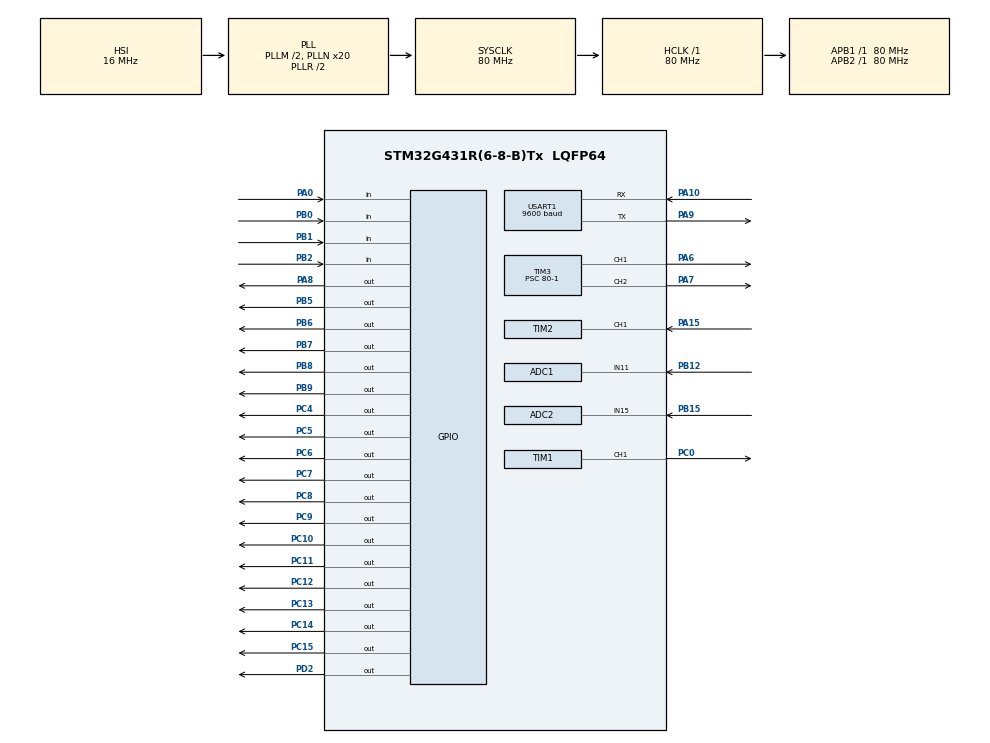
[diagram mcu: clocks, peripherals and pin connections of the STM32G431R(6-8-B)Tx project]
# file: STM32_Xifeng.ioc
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ADC1.Channel-2\#ChannelRegularConversion=ADC_CHANNEL_11
ADC1.ClockPrescaler=ADC_CLOCK_SYNC_PCLK_DIV4
ADC1.ContinuousConvMode=ENABLE
ADC1.DMAContinuousRequests=ENABLE
ADC1.NbrOfConversionFlag=1
ADC1.OffsetNumber-2\#ChannelRegularConversion=ADC_OFFSET_NONE
ADC1.Rank-2\#ChannelRegularConversion=1
ADC1.SamplingTime-2\#ChannelRegularConversion=ADC_SAMPLETIME_2CYCLES_5
ADC1.master=1
ADC2.Channel-2\#ChannelRegularConversion=ADC_CHANNEL_15
ADC2.ClockPrescaler=ADC_CLOCK_SYNC_PCLK_DIV4
ADC2.ContinuousConvMode=ENABLE
ADC2.DMAContinuousRequests=ENABLE
ADC2.NbrOfConversionFlag=1
ADC2.OffsetNumber-2\#ChannelRegularConversion=ADC_OFFSET_NONE
ADC2.Rank-2\#ChannelRegularConversion=1
ADC2.SamplingTime-2\#ChannelRegularConversion=ADC_SAMPLETIME_2CYCLES_5
Dma.ADC1.1.Direction=DMA_PERIPH_TO_MEMORY
Dma.ADC1.1.EventEnable=DISABLE
Dma.ADC1.1.Instance=DMA1_Channel2
Dma.ADC1.1.MemDataAlignment=DMA_MDATAALIGN_WORD
Dma.ADC1.1.MemInc=DMA_MINC_ENABLE
Dma.ADC1.1.Mode=DMA_CIRCULAR
Dma.ADC1.1.PeriphDataAlignment=DMA_PDATAALIGN_WORD
Dma.ADC1.1.PeriphInc=DMA_PINC_DISABLE
Dma.ADC1.1.Polarity=HAL_DMAMUX_REQ_GEN_RISING
Dma.ADC1.1.Priority=DMA_PRIORITY_MEDIUM
Dma.ADC1.1.RequestNumber=1
Dma.ADC1.1.SignalID=NONE
Dma.ADC1.1.SyncEnable=DISABLE
Dma.ADC1.1.SyncPolarity=HAL_DMAMUX_SYNC_NO_EVENT
Dma.ADC1.1.SyncRequestNumber=1
Dma.ADC1.1.SyncSignalID=NONE
Dma.ADC2.2.Direction=DMA_PERIPH_TO_MEMORY
Dma.ADC2.2.EventEnable=DISABLE
Dma.ADC2.2.Instance=DMA1_Channel3
Dma.ADC2.2.MemDataAlignment=DMA_MDATAALIGN_WORD
Dma.ADC2.2.MemInc=DMA_MINC_ENABLE
Dma.ADC2.2.Mode=DMA_CIRCULAR
Dma.ADC2.2.PeriphDataAlignment=DMA_PDATAALIGN_WORD
Dma.ADC2.2.PeriphInc=DMA_PINC_DISABLE
Dma.ADC2.2.Polarity=HAL_DMAMUX_REQ_GEN_RISING
Dma.ADC2.2.Priority=DMA_PRIORITY_MEDIUM
Dma.ADC2.2.RequestNumber=1
Dma.ADC2.2.SignalID=NONE
Dma.ADC2.2.SyncEnable=DISABLE
Dma.ADC2.2.SyncPolarity=HAL_DMAMUX_SYNC_NO_EVENT
Dma.ADC2.2.SyncRequestNumber=1
Dma.ADC2.2.SyncSignalID=NONE
Dma.Request0=USART1_RX
Dma.Request1=ADC1
Dma.Request2=ADC2
Dma.Request3=TIM3_CH1
Dma.Request4=TIM3_CH2
Dma.Request5=TIM2_CH1
Dma.TIM2_CH1.5.Direction=DMA_PERIPH_TO_MEMORY
Dma.TIM2_CH1.5.EventEnable=DISABLE
Dma.TIM2_CH1.5.Instance=DMA1_Channel6
Dma.TIM2_CH1.5.MemDataAlignment=DMA_MDATAALIGN_WORD
Dma.TIM2_CH1.5.MemInc=DMA_MINC_ENABLE
Dma.TIM2_CH1.5.Mode=DMA_CIRCULAR
Dma.TIM2_CH1.5.PeriphDataAlignment=DMA_PDATAALIGN_WORD
Dma.TIM2_CH1.5.PeriphInc=DMA_PINC_DISABLE
Dma.TIM2_CH1.5.Polarity=HAL_DMAMUX_REQ_GEN_RISING
Dma.TIM2_CH1.5.Priority=DMA_PRIORITY_LOW
Dma.TIM2_CH1.5.RequestNumber=1
Dma.TIM2_CH1.5.SignalID=NONE
Dma.TIM2_CH1.5.SyncEnable=DISABLE
Dma.TIM2_CH1.5.SyncPolarity=HAL_DMAMUX_SYNC_NO_EVENT
Dma.TIM2_CH1.5.SyncRequestNumber=1
Dma.TIM2_CH1.5.SyncSignalID=NONE
Dma.TIM3_CH1.3.Direction=DMA_PERIPH_TO_MEMORY
Dma.TIM3_CH1.3.EventEnable=DISABLE
Dma.TIM3_CH1.3.Instance=DMA1_Channel4
Dma.TIM3_CH1.3.MemDataAlignment=DMA_MDATAALIGN_WORD
Dma.TIM3_CH1.3.MemInc=DMA_MINC_ENABLE
Dma.TIM3_CH1.3.Mode=DMA_CIRCULAR
Dma.TIM3_CH1.3.PeriphDataAlignment=DMA_PDATAALIGN_WORD
Dma.TIM3_CH1.3.PeriphInc=DMA_PINC_DISABLE
Dma.TIM3_CH1.3.Polarity=HAL_DMAMUX_REQ_GEN_RISING
Dma.TIM3_CH1.3.Priority=DMA_PRIORITY_LOW
Dma.TIM3_CH1.3.RequestNumber=1
Dma.TIM3_CH1.3.SignalID=NONE
Dma.TIM3_CH1.3.SyncEnable=DISABLE
Dma.TIM3_CH1.3.SyncPolarity=HAL_DMAMUX_SYNC_NO_EVENT
Dma.TIM3_CH1.3.SyncRequestNumber=1
Dma.TIM3_CH1.3.SyncSignalID=NONE
Dma.TIM3_CH2.4.Direction=DMA_PERIPH_TO_MEMORY
Dma.TIM3_CH2.4.EventEnable=DISABLE
Dma.TIM3_CH2.4.Instance=DMA1_Channel5
Dma.TIM3_CH2.4.MemDataAlignment=DMA_MDATAALIGN_WORD
Dma.TIM3_CH2.4.MemInc=DMA_MINC_ENABLE
Dma.TIM3_CH2.4.Mode=DMA_CIRCULAR
Dma.TIM3_CH2.4.PeriphDataAlignment=DMA_PDATAALIGN_WORD
Dma.TIM3_CH2.4.PeriphInc=DMA_PINC_DISABLE
Dma.TIM3_CH2.4.Polarity=HAL_DMAMUX_REQ_GEN_RISING
Dma.TIM3_CH2.4.Priority=DMA_PRIORITY_LOW
Dma.TIM3_CH2.4.RequestNumber=1
Dma.TIM3_CH2.4.SignalID=NONE
Dma.TIM3_CH2.4.SyncEnable=DISABLE
Dma.TIM3_CH2.4.SyncPolarity=HAL_DMAMUX_SYNC_NO_EVENT
Dma.TIM3_CH2.4.SyncRequestNumber=1
Dma.TIM3_CH2.4.SyncSignalID=NONE
Dma.USART1_RX.0.Direction=DMA_PERIPH_TO_MEMORY
Dma.USART1_RX.0.EventEnable=DISABLE
Dma.USART1_RX.0.Instance=DMA1_Channel1
Dma.USART1_RX.0.MemDataAlignment=DMA_MDATAALIGN_BYTE
Dma.USART1_RX.0.MemInc=DMA_MINC_ENABLE
Dma.USART1_RX.0.Mode=DMA_NORMAL
Dma.USART1_RX.0.PeriphDataAlignment=DMA_PDATAALIGN_BYTE
Dma.USART1_RX.0.PeriphInc=DMA_PINC_DISABLE
Dma.USART1_RX.0.Polarity=HAL_DMAMUX_REQ_GEN_RISING
Dma.USART1_RX.0.Priority=DMA_PRIORITY_HIGH
Dma.USART1_RX.0.RequestNumber=1
Dma.USART1_RX.0.SignalID=NONE
Dma.USART1_RX.0.SyncEnable=DISABLE
Dma.USART1_RX.0.SyncPolarity=HAL_DMAMUX_SYNC_NO_EVENT
Dma.USART1_RX.0.SyncRequestNumber=1
Dma.USART1_RX.0.SyncSignalID=NONE
Mcu.Family=STM32G4
Mcu.Name=STM32G431R(6-8-B)Tx
Mcu.Package=LQFP64
NVIC.DMA1_Channel1_IRQn=true\:1\:0\:true\:false\:true\:false\:true\:true
NVIC.DMA1_Channel2_IRQn=true\:1\:0\:true\:false\:true\:false\:true\:true
NVIC.DMA1_Channel3_IRQn=true\:1\:0\:true\:false\:true\:false\:true\:true
NVIC.DMA1_Channel4_IRQn=true\:1\:0\:true\:false\:true\:false\:true\:true
NVIC.DMA1_Channel5_IRQn=true\:0\:0\:false\:false\:true\:false\:true\:true
NVIC.DMA1_Channel6_IRQn=true\:0\:0\:false\:false\:true\:false\:true\:true
NVIC.PriorityGroup=NVIC_PRIORITYGROUP_4
NVIC.USART1_IRQn=true\:1\:0\:true\:false\:true\:true\:true\:true
PA0.GPIO_PuPd=GPIO_PULLUP
PA0.Signal=GPIO_Input
PA10.Mode=Asynchronous
PA10.Signal=USART1_RX
PA15.Signal=S_TIM2_CH1
PA6.Signal=S_TIM3_CH1
PA7.Signal=S_TIM3_CH2
PA8.Signal=GPIO_Output
PA9.Mode=Asynchronous
PA9.Signal=USART1_TX
PB0.GPIO_PuPd=GPIO_PULLUP
PB0.Signal=GPIO_Input
PB1.GPIO_PuPd=GPIO_PULLUP
PB1.Signal=GPIO_Input
PB12.Mode=IN11-Single-Ended
PB12.Signal=ADC1_IN11
PB15.Mode=IN15-Single-Ended
PB15.Signal=ADC2_IN15
PB2.GPIO_PuPd=GPIO_PULLUP
PB2.Signal=GPIO_Input
PB5.Signal=GPIO_Output
PB6.GPIO_PuPd=GPIO_PULLUP
PB6.GPIO_Speed=GPIO_SPEED_FREQ_VERY_HIGH
PB6.Signal=GPIO_Output
PB7.GPIO_PuPd=GPIO_PULLUP
PB7.GPIO_Speed=GPIO_SPEED_FREQ_VERY_HIGH
PB7.Signal=GPIO_Output
PB8-BOOT0.Signal=GPIO_Output
PB9.Signal=GPIO_Output
PC0.Signal=S_TIM1_CH1
PC10.PinState=GPIO_PIN_SET
PC10.Signal=GPIO_Output
PC11.PinState=GPIO_PIN_SET
PC11.Signal=GPIO_Output
PC12.PinState=GPIO_PIN_SET
PC12.Signal=GPIO_Output
PC13.PinState=GPIO_PIN_SET
PC13.Signal=GPIO_Output
PC14-OSC32_IN.PinState=GPIO_PIN_SET
PC14-OSC32_IN.Signal=GPIO_Output
PC15-OSC32_OUT.PinState=GPIO_PIN_SET
PC15-OSC32_OUT.Signal=GPIO_Output
PC4.Signal=GPIO_Output
PC5.Signal=GPIO_Output
PC6.Signal=GPIO_Output
PC7.Signal=GPIO_Output
PC8.PinState=GPIO_PIN_SET
PC8.Signal=GPIO_Output
PC9.PinState=GPIO_PIN_SET
PC9.Signal=GPIO_Output
PD2.PinState=GPIO_PIN_RESET
PD2.Signal=GPIO_Output
PF0-OSC_IN.Mode=HSE-External-Oscillator
PF0-OSC_IN.Signal=RCC_OSC_IN
PF1-OSC_OUT.Mode=HSE-External-Oscillator
PF1-OSC_OUT.Signal=RCC_OSC_OUT
ProjectManager.HeapSize=0x200
ProjectManager.StackSize=0x400
ProjectManager.TargetToolchain=MDK-ARM V5
RCC.ADC12Freq_Value=80000000
RCC.AHBFreq_Value=80000000
RCC.APB1Freq_Value=80000000
RCC.APB1TimFreq_Value=80000000
RCC.APB2Freq_Value=80000000
RCC.APB2TimFreq_Value=80000000
RCC.CortexFreq_Value=80000000
RCC.EXTERNAL_CLOCK_VALUE=12288000
RCC.HCLKFreq_Value=80000000
RCC.HSE_VALUE=24000000
RCC.HSI48_VALUE=48000000
RCC.HSI_VALUE=16000000
RCC.LSE_VALUE=32768
RCC.PLLM=RCC_PLLM_DIV2
RCC.PLLN=20
RCC.SYSCLKFreq_VALUE=80000000
RCC.SYSCLKSource=RCC_SYSCLKSOURCE_PLLCLK
RCC.USBFreq_Value=80000000
RCC.VCOOutputFreq_Value=160000000
RTC.AsynchPrediv=127
RTC.Format=RTC_FORMAT_BIN
RTC.Hours=23
RTC.Minutes=59
RTC.Seconds=55
RTC.SynchPrediv=255
SH.S_TIM1_CH1.0=TIM1_CH1,PWM Generation1 CH1
SH.S_TIM2_CH1.0=TIM2_CH1,Input_Capture1_from_TI1
SH.S_TIM2_CH1.1=TIM2_CH1,TriggerSource_TI1FP1
SH.S_TIM3_CH1.0=TIM3_CH1
SH.S_TIM3_CH1.1=TIM3_CH1,PWM Generation1 CH1
SH.S_TIM3_CH2.0=TIM3_CH2,PWM Generation2 CH2
TIM1.Channel-PWM\ Generation1\ CH1=TIM_CHANNEL_1
TIM1.PeriodNoDither=1000-1
TIM1.Prescaler=170-1
TIM1.PulseNoDither_1=50
TIM2.Channel-Input_Capture1_from_TI1=TIM_CHANNEL_1
TIM2.PeriodNoDither=65535
TIM2.Prescaler=80-1
TIM3.Channel-PWM\ Generation1\ CH1=TIM_CHANNEL_1
TIM3.Channel-PWM\ Generation2\ CH2=TIM_CHANNEL_2
TIM3.PeriodNoDither=1000-1
TIM3.Prescaler=80-1
TIM3.PulseNoDither_1=50
TIM3.PulseNoDither_2=50
USART1.BaudRate=9600
USART1.VirtualMode-Asynchronous=VM_ASYNC
VP_RTC_VS_RTC_Activate.Mode=RTC_Enabled
VP_RTC_VS_RTC_Calendar.Mode=RTC_Calendar
VP_SYS_VS_DBSignals.Mode=DisableDeadBatterySignals
VP_TIM1_VS_ClockSourceINT.Mode=Internal
VP_TIM2_VS_ClockSourceINT.Mode=Internal
VP_TIM2_VS_ControllerModeReset.Mode=Reset Mode
VP_TIM3_VS_ClockSourceINT.Mode=Internal
board=custom

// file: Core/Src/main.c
/* USER CODE BEGIN Header */
/**
 ******************************************************************************
 * @file           : main.c
 * @brief          : Main program body
 ******************************************************************************
 * @attention
 *
 * Copyright (c) 2024 STMicroelectronics.
 * All rights reserved.
 *
 * This software is licensed under terms that can be found in the LICENSE file
 * in the root directory of this software component.
 * If no LICENSE file comes with this software, it is provided AS-IS.
 *
 ******************************************************************************
 */
/* USER CODE END Header */
#include "main.h"
#include "adc.h"
#include "dma.h"
#include "rtc.h"
#include "tim.h"
#include "usart.h"
#include "gpio.h"

/* USER CODE BEGIN Includes */
#include "bsp_system.h"
/* USER CODE END Includes */

void SystemClock_Config(void);

int main(void)
{

  /* MCU Configuration--------------------------------------------------------*/

  /* Reset of all peripherals, Initializes the Flash interface and the Systick. */
  HAL_Init();

  /* Configure the system clock */
  SystemClock_Config();

  /* Initialize all configured peripherals */
  MX_GPIO_Init();
  MX_DMA_Init();
  MX_USART1_UART_Init();
  MX_ADC1_Init();
  MX_ADC2_Init();
  MX_RTC_Init();
  MX_TIM1_Init();
  MX_TIM3_Init();
  MX_TIM2_Init();
  /* USER CODE BEGIN 2 */
  system_init();
  key_init();
  ringbuffer_init(&usart_rb);
  HAL_ADC_Start_DMA(&hadc1, (uint32_t *)&dma_buff[0][0], 30);
  HAL_ADC_Start_DMA(&hadc2, (uint32_t *)&dma_buff[1][0], 30);
  HAL_TIM_IC_Start_DMA(&htim2, TIM_CHANNEL_1, tim_ic_buffer, 64);
  HAL_TIM_PWM_Start(&htim3, TIM_CHANNEL_1);
  HAL_TIM_PWM_Start(&htim3, TIM_CHANNEL_2);

  LCD_Init();
  LCD_Clear(Black);
  LCD_SetTextColor(White);
  LCD_SetBackColor(Black);
  scheduler_init();
  /* USER CODE END 2 */

  /* Infinite loop */
  while (1)
  {

    /* USER CODE BEGIN 3 */
    scheduler_run();
  }
  /* USER CODE END 3 */
}

void SystemClock_Config(void)
{
  RCC_OscInitTypeDef RCC_OscInitStruct = {0};
  RCC_ClkInitTypeDef RCC_ClkInitStruct = {0};

  /** Configure the main internal regulator output voltage
   */
  HAL_PWREx_ControlVoltageScaling(PWR_REGULATOR_VOLTAGE_SCALE1);

  /** Initializes the RCC Oscillators according to the specified parameters
   * in the RCC_OscInitTypeDef structure.
   */
  RCC_OscInitStruct.OscillatorType = RCC_OSCILLATORTYPE_HSI | RCC_OSCILLATORTYPE_LSI;
  RCC_OscInitStruct.HSIState = RCC_HSI_ON;
  RCC_OscInitStruct.HSICalibrationValue = RCC_HSICALIBRATION_DEFAULT;
  RCC_OscInitStruct.LSIState = RCC_LSI_ON;
  RCC_OscInitStruct.PLL.PLLState = RCC_PLL_ON;
  RCC_OscInitStruct.PLL.PLLSource = RCC_PLLSOURCE_HSI;
  RCC_OscInitStruct.PLL.PLLM = RCC_PLLM_DIV2;
  RCC_OscInitStruct.PLL.PLLN = 20;
  RCC_OscInitStruct.PLL.PLLP = RCC_PLLP_DIV2;
  RCC_OscInitStruct.PLL.PLLQ = RCC_PLLQ_DIV2;
  RCC_OscInitStruct.PLL.PLLR = RCC_PLLR_DIV2;
  if (HAL_RCC_OscConfig(&RCC_OscInitStruct) != HAL_OK)
  {
    Error_Handler();
  }

  /** Initializes the CPU, AHB and APB buses clocks
   */
  RCC_ClkInitStruct.ClockType = RCC_CLOCKTYPE_HCLK | RCC_CLOCKTYPE_SYSCLK | RCC_CLOCKTYPE_PCLK1 | RCC_CLOCKTYPE_PCLK2;
  RCC_ClkInitStruct.SYSCLKSource = RCC_SYSCLKSOURCE_PLLCLK;
  RCC_ClkInitStruct.AHBCLKDivider = RCC_SYSCLK_DIV1;
  RCC_ClkInitStruct.APB1CLKDivider = RCC_HCLK_DIV1;
  RCC_ClkInitStruct.APB2CLKDivider = RCC_HCLK_DIV1;

  if (HAL_RCC_ClockConfig(&RCC_ClkInitStruct, FLASH_LATENCY_2) != HAL_OK)
  {
    Error_Handler();
  }
}

void Error_Handler(void)
{
  __disable_irq();
  while (1)
  {
  }
}
